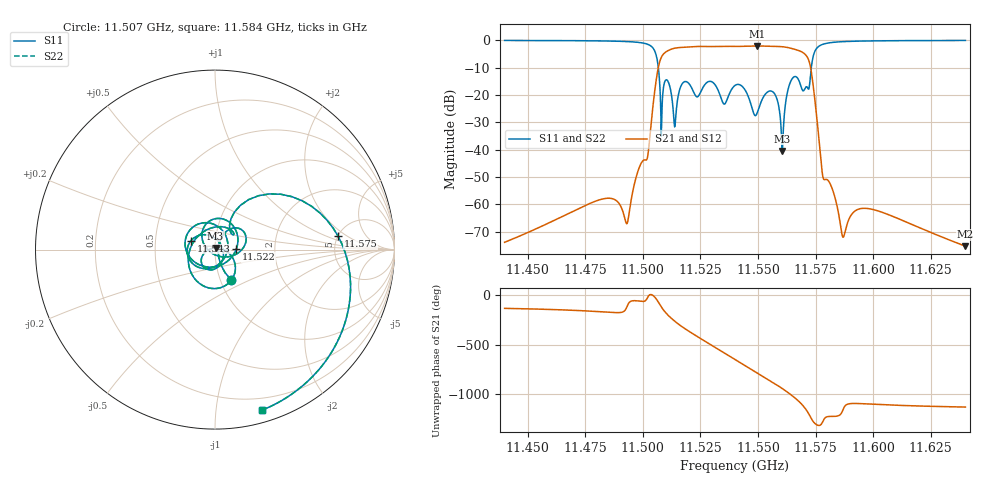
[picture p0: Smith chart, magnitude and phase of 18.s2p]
! This file was generated by CST Filter Designer 3D
! Date:  05.11.2025 19:48:09
# MHZ S RI R 50
!  Frequency  Re(S11)  Im(S11)  Re(S21)  Im(S21)  Re(S12)  Im(S12)  Re(S22)  Im(S22)
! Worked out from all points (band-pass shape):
!   1001 points, 11.44 GHz to 11.64 GHz, reference 50 ohm
!   highest |S21| = -2.09 dB at 11.549 GHz (marker M1); lowest = -75.3 dB at 11.64 GHz (marker M2)
!   |S21| within 3 dB of the highest: 11.509 GHz to 11.57 GHz (61.5 MHz wide, 0.533 % of centre)
!   lowest |S11| = -40.5 dB at 11.561 GHz (marker M3), VSWR 1.02, Z = 50.3 + j0.898 ohm
!   |S11| at or under -10 dB: 11.507 GHz to 11.573 GHz (66.4 MHz wide, 0.575 % of centre)
!   |S22| runs from -40.5 to -0.1 dB; largest |S21 - S12| = 0
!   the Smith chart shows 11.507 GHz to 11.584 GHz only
!   S11 on the Smith chart (normalised r, x): 11.507 GHz: 1.12, -0.40; 11.522 GHz: 1.27, +0.01; 11.543 GHz: 0.76, +0.08; 11.575 GHz: 5.02, +1.44; 11.584 GHz: 0.10, -1.33
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11440  -0.7878 0.605  -0.00013 -0.000154  -0.00013 -0.000154  -0.7878 0.605
11473.4  -0.5006 0.8452  -0.000792 -0.000389  -0.000792 -0.000389  -0.5006 0.8452
11493.2  0.0876 0.9437  -0.000137 -0.000425  -0.000137 -0.000425  0.0876 0.9437
11502  0.6731 0.5157  0.00655 -0.0029  0.00655 -0.0029  0.6731 0.5157
11506.8  0.1864 -0.2315  0.1133 -0.3099  0.1133 -0.3099  0.1864 -0.2315
11507.2  0.0901 -0.1693  0.032 -0.3871  0.032 -0.3871  0.0901 -0.1693
11510.6  0.1734 0.0652  -0.6229 0.1254  -0.6229 0.1254  0.1734 0.0652
11514.6  -0.0542 0.0167  0.0608 0.7238  0.0608 0.7238  -0.0542 0.0167
11521.8  0.1189 0.00334  0.6687 -0.3732  0.6687 -0.3732  0.1189 0.00334
11532  -0.00259 0.1393  -0.7678 -0.0838  -0.7678 -0.0838  -0.00259 0.1393
11540  -0.1311 -0.0712  0.2431 0.7328  0.2431 0.7328  -0.1311 -0.0712
11543.2  -0.1335 0.05  0.6945 0.3439  0.6945 0.3439  -0.1335 0.05
11549.4  0.0445 -0.00243  0.3752 -0.6904  0.3752 -0.6904  0.0445 -0.00243
11556.2  -0.0638 -0.0965  -0.7185 -0.2942  -0.7185 -0.2942  -0.0638 -0.0965
11560.6  0.00309 0.00893  -0.5482 0.5293  -0.5482 0.5293  0.00309 0.00893
11567.4  -0.1174 -0.1567  0.6342 0.1606  0.6342 0.1606  -0.1174 -0.1567
11573.4  0.2432 0.3004  -0.222 -0.00684  -0.222 -0.00684  0.2432 0.3004
11575.2  0.6857 0.075  -0.0349 0.0366  -0.0349 0.0366  0.6857 0.075
11578.2  0.6953 -0.4844  -0.00304 0.000666  -0.00304 0.000666  0.6953 -0.4844
11584.4  0.2646 -0.8935  -0.000691 -0.000549  -0.000691 -0.000549  0.2646 -0.8935
11606.8  -0.489 -0.8513  0.00056 -0.00031  0.00056 -0.00031  -0.489 -0.8513
11640  -0.7816 -0.6126  0.000109 -0.000131  0.000109 -0.000131  -0.7816 -0.6126
